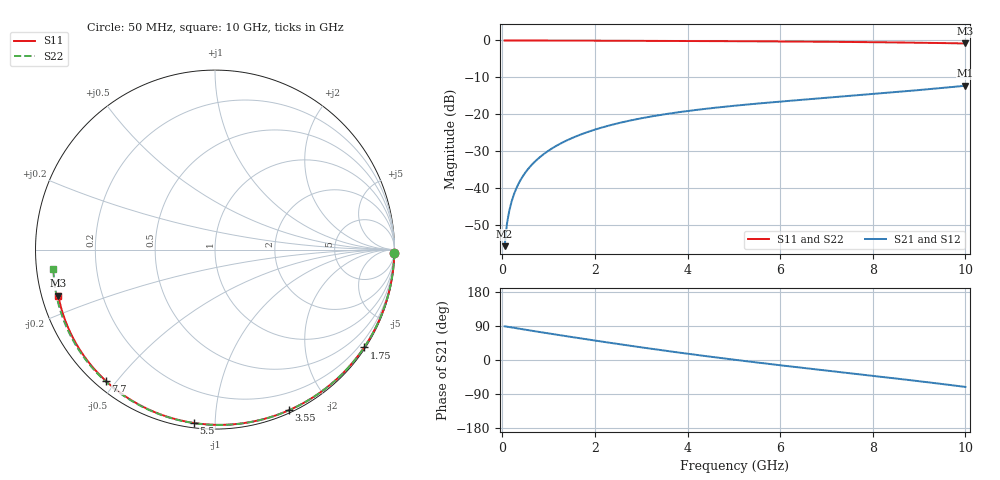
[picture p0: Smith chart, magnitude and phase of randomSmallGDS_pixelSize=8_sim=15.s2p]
! freq	dB(S11)	phase(S11)	dB(S12)	phase(S12)
!  dB(S21)	phase(S21)	dB(S22)	phase(S22)
!S-par simulation data
#  GHz  S  DB  R 50
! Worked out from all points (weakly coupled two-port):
!   200 points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, 50 MHz to 10 GHz, reference 50 ohm
!   highest |S21| = -12.25 dB at 10 GHz (marker M1); lowest = -55.6 dB at 50 MHz (marker M2)
!   lowest |S11| = -0.8 dB at 10 GHz (marker M3), VSWR 21.21, Z = 2.41 - j7.2 ohm
!   |S11| at or under -10 dB: nowhere
!   |S22| runs from -0.8 to 0.0 dB; largest |S21 - S12| = 0
!   S11 on the Smith chart (normalised r, x): 50 MHz: open; 1.75 GHz: 0.04, -3.35; 3.55 GHz: 0.03, -1.56; 5.5 GHz: 0.02, -0.88; 7.7 GHz: 0.03, -0.47; 10 GHz: 0.05, -0.14
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0.05  -0.01 -1.0  -55.64 89.0  -55.64 89.0  -0.01 -1.0
0.1  -0.01 -1.9  -49.62 88.0  -49.62 88.0  -0.01 -2.0
0.15  -0.01 -2.9  -46.10 86.9  -46.10 86.9  -0.01 -3.0
0.2  -0.01 -3.9  -43.61 85.9  -43.61 85.9  -0.01 -4.0
0.25  -0.01 -4.8  -41.67 84.9  -41.67 84.9  -0.01 -5.0
0.35  -0.01 -6.8  -38.77 82.9  -38.77 82.9  -0.01 -7.0
0.5  -0.01 -9.6  -35.69 79.9  -35.69 79.9  -0.01 -10.0
0.7  -0.02 -13.5  -32.82 75.9  -32.82 75.9  -0.02 -13.9
1  -0.03 -19.2  -29.80 70.1  -29.80 70.1  -0.03 -19.8
1.35  -0.04 -25.8  -27.30 63.5  -27.30 63.5  -0.04 -26.7
1.75  -0.06 -33.3  -25.18 56.0  -25.18 56.0  -0.06 -34.4
2.6  -0.09 -48.7  -22.10 40.5  -22.10 40.5  -0.09 -50.4
3.4  -0.12 -62.8  -20.18 26.5  -20.18 26.5  -0.13 -65.0
3.55  -0.13 -65.3  -19.88 24.0  -19.88 24.0  -0.13 -67.6
4.3  -0.17 -77.9  -18.62 11.8  -18.62 11.8  -0.17 -80.7
5.05  -0.21 -90.0  -17.61 0.1  -17.61 0.1  -0.21 -93.3
5.5  -0.24 -97.0  -17.09 -6.6  -17.09 -6.6  -0.24 -100.7
6.7  -0.33 -115.2  -15.83 -23.7  -15.83 -23.7  -0.34 -119.8
7.7  -0.43 -129.8  -14.81 -37.6  -14.81 -37.6  -0.45 -135.6
8.35  -0.52 -139.3  -14.13 -46.7  -14.13 -46.7  -0.54 -145.8
9.2  -0.66 -151.7  -13.19 -58.9  -13.19 -58.9  -0.68 -159.6
10  -0.82 -163.6  -12.25 -71.0  -12.25 -71.0  -0.85 -173.1
